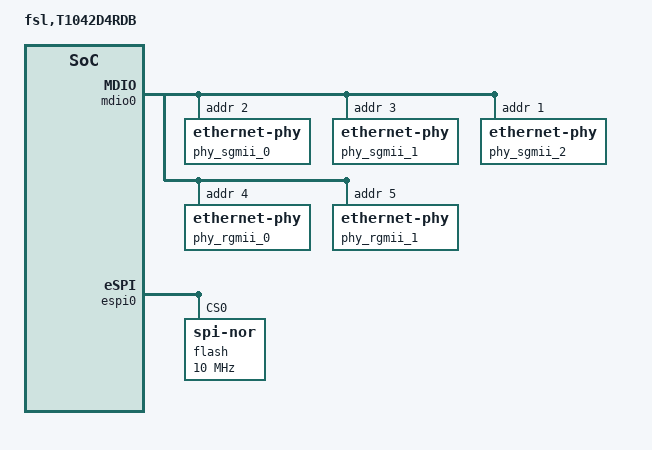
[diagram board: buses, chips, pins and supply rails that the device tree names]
// SPDX-License-Identifier: GPL-2.0+ OR X11
/*
 * T1042D4RDB Device Tree Source
 *
 * Copyright 2013 - 2015 Freescale Semiconductor Inc.
 * Copyright 2019-2023 NXP
 */

/include/ "t104x.dtsi"

/ {
	model = "fsl,T1042D4RDB";
	compatible = "fsl,T1042D4RDB";
	#address-cells = <2>;
	#size-cells = <2>;
	interrupt-parent = <&mpic>;

	aliases {
		spi0 = &espi0;
		serial0 = &serial0;
		serial1 = &serial1;
		serial2 = &serial2;
		serial3 = &serial3;
	};
};

&soc {
	fman0: fman@400000 {
		ethernet@e0000 {
			phy-handle = <&phy_sgmii_0>;
			phy-connection-type = "sgmii";
		};

		ethernet@e2000 {
			phy-handle = <&phy_sgmii_1>;
			phy-connection-type = "sgmii";
		};

		ethernet@e4000 {
			phy-handle = <&phy_sgmii_2>;
			phy-connection-type = "sgmii";
		};

		ethernet@e6000 {
			phy-handle = <&phy_rgmii_0>;
			phy-connection-type = "rgmii";
		};

		ethernet@e8000 {
			phy-handle = <&phy_rgmii_1>;
			phy-connection-type = "rgmii";
		};

		mdio0: mdio@fc000 {
			phy_sgmii_0: ethernet-phy@2 {
				reg = <0x02>;
			};

			phy_sgmii_1: ethernet-phy@3 {
				reg = <0x03>;
			};

			phy_sgmii_2: ethernet-phy@1 {
				reg = <0x01>;
			};

			phy_rgmii_0: ethernet-phy@4 {
				reg = <0x04>;
			};

			phy_rgmii_1: ethernet-phy@5 {
				reg = <0x05>;
			};
		};
	};
};

&espi0 {
	status = "okay";
	flash@0 {
		compatible = "jedec,spi-nor";
		#address-cells = <1>;
		#size-cells = <1>;
		reg = <0>;
		spi-max-frequency = <10000000>; /* input clock */
	};
};

/include/ "t1042si-post.dtsi"
